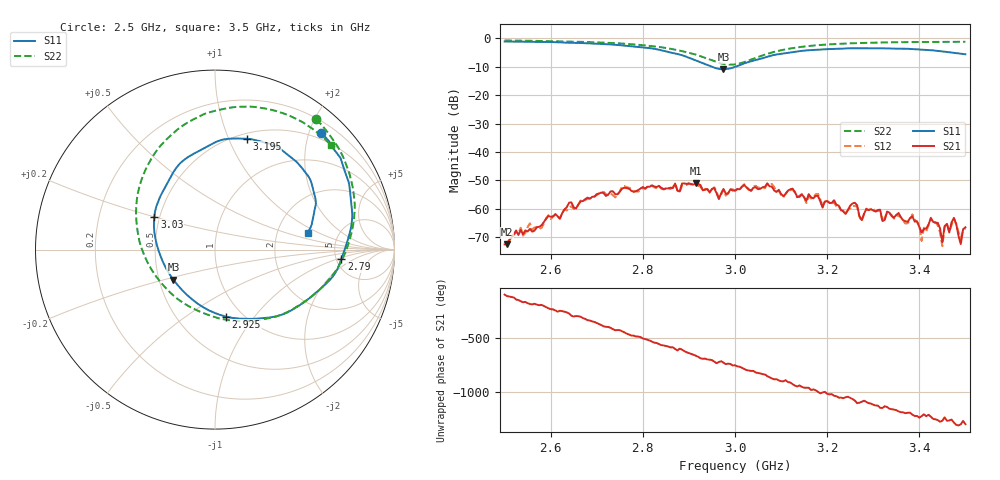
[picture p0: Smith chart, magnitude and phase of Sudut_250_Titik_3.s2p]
# Hz S RI R 50
! CMT, C1220, 16058040, 17.2.0/1
! Date: 15/08/2018 10:43:53
! Data: Format (Calibration Info)
! Freq  S11: Re/Im (F2)  S21: Re/Im (F2)  S12: Re/Im (F2)  S22: Re/Im (F2)
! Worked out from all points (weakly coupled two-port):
!   201 points, 2.5 GHz to 3.5 GHz, reference 50 ohm
!   highest |S21| = -50.94 dB at 2.915 GHz (marker M1); lowest = -72.6 dB at 2.505 GHz (marker M2)
!   lowest |S11| = -10.9 dB at 2.975 GHz (marker M3), VSWR 1.80, Z = 29.7 - j10.9 ohm
!   |S11| at or under -10 dB: 2.95 GHz to 3.001 GHz (50.96 MHz wide, 1.71 % of centre)
!   |S22| runs from -9.2 to -0.7 dB; largest |S21 - S12| = 0.00032
!   S11 on the Smith chart (normalised r, x): 2.5 GHz: 0.38, +2.20; 2.79 GHz: 5.56, -1.17; 2.925 GHz: 0.84, -0.73; 3.03 GHz: 0.47, +0.20; 3.195 GHz: 0.55, +1.17; 3.5 GHz: 2.99, +0.77
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2.5e9  0.5919 0.6522  -4.31e-06 -0.000236  3.36e-05 -0.000251  0.5637 0.7253
2.505e9  0.5986 0.644  -6.27e-05 -0.000227  -0.000115 -0.000226  0.5695 0.7197
2.67e9  0.75 0.3455  0.000901 0.00103  0.000984 0.000966  0.7384 0.4536
2.79e9  0.7043 -0.0527  -0.0012 -0.00177  -0.00121 -0.00161  0.7634 0.1059
2.835e9  0.5937 -0.2129  -0.00246 0.00062  -0.00239 0.000605  0.7029 -0.067
2.915e9  0.1344 -0.3843  0.00156 0.00237  0.00149 0.00224  0.3687 -0.3633
2.925e9  0.0617 -0.3735  0.0022 0.00144  0.00197 0.00147  0.2987 -0.3824
2.975e9  -0.2317 -0.1681  0.00221 -0.000319  0.00214 -0.00034  -0.0955 -0.3407
3e9  -0.3137 -0.00789  0.00175 -0.00112  0.00171 -0.00122  -0.2741 -0.2141
3.03e9  -0.338 0.1838  0.000335 -0.00213  0.000365 -0.00218  -0.4088 0.00604
3.17e9  0.0928 0.6186  -0.000309 0.0015  -0.000437 0.0015  -0.0893 0.7413
3.195e9  0.1772 0.6176  0.000259 0.00132  0.000392 0.00128  0.00258 0.7738
3.275e9  0.3784 0.5499  0.000614 -0.000156  0.000588 -0.000125  0.2515 0.7907
3.335e9  0.4889 0.4489  0.00017 -0.000841  0.000123 -0.000834  0.3921 0.755
3.385e9  0.5417 0.3566  -0.000517 -0.00052  -0.000532 -0.000594  0.4878 0.7104
3.405e9  0.5541 0.3065  -0.000328 -0.000202  -0.000237 -0.000134  0.5188 0.689
3.425e9  0.5622 0.2603  -0.00061 -0.00031  -0.000618 -0.000322  0.549 0.6691
3.45e9  0.5523 0.2058  -0.000255 4.94e-05  -0.000204 8.27e-05  0.5854 0.6406
3.46e9  0.5471 0.1791  -0.000531 0.000114  -0.000527 0.000131  0.598 0.6304
3.475e9  0.5391 0.1415  -0.000612 0.000325  -0.000607 0.000283  0.6161 0.6131
3.49e9  0.5263 0.1115  -0.000167 0.000171  -0.000196 0.000235  0.634 0.5947
3.5e9  0.5164 0.0933  -0.000343 0.000327  -0.000317 0.00033  0.6451 0.5836
